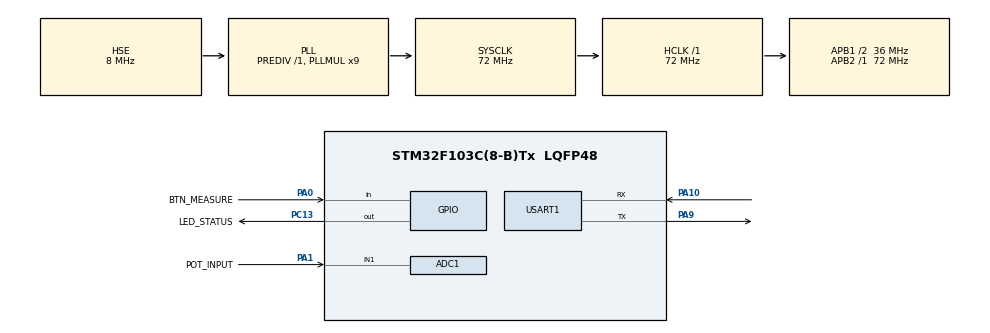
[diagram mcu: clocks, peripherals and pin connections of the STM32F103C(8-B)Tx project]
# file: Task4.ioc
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ADC1.Channel-0\#ChannelRegularConversion=ADC_CHANNEL_1
ADC1.NbrOfConversionFlag=1
ADC1.Rank-0\#ChannelRegularConversion=1
ADC1.SamplingTime-0\#ChannelRegularConversion=ADC_SAMPLETIME_1CYCLE_5
ADC1.master=1
Mcu.Family=STM32F1
Mcu.Name=STM32F103C(8-B)Tx
Mcu.Package=LQFP48
NVIC.PriorityGroup=NVIC_PRIORITYGROUP_4
PA0-WKUP.GPIO_Label=BTN_MEASURE
PA0-WKUP.GPIO_PuPd=GPIO_PULLDOWN
PA0-WKUP.Signal=GPIO_Input
PA1.GPIO_Label=POT_INPUT
PA1.Signal=ADCx_IN1
PA10.Mode=Asynchronous
PA10.Signal=USART1_RX
PA13.Mode=Serial_Wire
PA13.Signal=SYS_JTMS-SWDIO
PA14.Mode=Serial_Wire
PA14.Signal=SYS_JTCK-SWCLK
PA9.Mode=Asynchronous
PA9.Signal=USART1_TX
PC13-TAMPER-RTC.GPIO_Label=LED_STATUS
PC13-TAMPER-RTC.Signal=GPIO_Output
PD0-OSC_IN.Mode=HSE-External-Oscillator
PD0-OSC_IN.Signal=RCC_OSC_IN
PD1-OSC_OUT.Mode=HSE-External-Oscillator
PD1-OSC_OUT.Signal=RCC_OSC_OUT
ProjectManager.HeapSize=0x200
ProjectManager.StackSize=0x400
ProjectManager.TargetToolchain=Makefile
RCC.ADCPresc=RCC_ADCPCLK2_DIV6
RCC.AHBFreq_Value=72000000
RCC.APB1CLKDivider=RCC_HCLK_DIV2
RCC.APB1Freq_Value=36000000
RCC.APB1TimFreq_Value=72000000
RCC.APB2Freq_Value=72000000
RCC.APB2TimFreq_Value=72000000
RCC.HCLKFreq_Value=72000000
RCC.PLLMUL=RCC_PLL_MUL9
RCC.PLLSourceVirtual=RCC_PLLSOURCE_HSE
RCC.SYSCLKFreq_VALUE=72000000
RCC.SYSCLKSource=RCC_SYSCLKSOURCE_PLLCLK
RCC.USBFreq_Value=72000000
SH.ADCx_IN1.0=ADC1_IN1,IN1
USART1.VirtualMode=VM_ASYNC
board=custom

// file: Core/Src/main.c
/* USER CODE BEGIN Header */
/**
  ******************************************************************************
  * @file           : main.c
  * @brief          : Main program body
  ******************************************************************************
  * @attention
  *
  * Copyright (c) 2026 STMicroelectronics.
  * All rights reserved.
  *
  * This software is licensed under terms that can be found in the LICENSE file
  * in the root directory of this software component.
  * If no LICENSE file comes with this software, it is provided AS-IS.
  *
  ******************************************************************************
  */
/* USER CODE END Header */
#include "main.h"

/* USER CODE BEGIN Includes */
#include "sensor.h"
#include "uart_log.h"
#include <stdio.h>
/* USER CODE END Includes */

ADC_HandleTypeDef hadc1;

UART_HandleTypeDef huart1;

/* USER CODE BEGIN PV */
uint32_t measurement_count = 0;
SensorData_t current_sensor_data;
/* USER CODE END PV */

void SystemClock_Config(void);
static void MX_GPIO_Init(void);
static void MX_ADC1_Init(void);
static void MX_USART1_UART_Init(void);

int main(void)
{

  /* MCU Configuration--------------------------------------------------------*/

  /* Reset of all peripherals, Initializes the Flash interface and the Systick. */
  HAL_Init();

  /* Configure the system clock */
  SystemClock_Config();

  /* Initialize all configured peripherals */
  MX_GPIO_Init();
  MX_ADC1_Init();
  MX_USART1_UART_Init();
  /* USER CODE BEGIN 2 */

  // BOOT TESTI: Sistem acildiginda LED 3 kez yanip soner
  UART_Print(&huart1, "[SISTEM] TUFAN Sensor Dashboard baslatiliyor...\r\n");
  UART_Print(&huart1, "[SISTEM] LED yanip sonuyor (3x boot testi)...\r\n");

  for(int i = 0; i < 3; i++) {
      // STM32'de PC13 pini genelde Active-Low (ters) calisir. RESET = LED Yanar.
      HAL_GPIO_WritePin(LED_STATUS_GPIO_Port, LED_STATUS_Pin, GPIO_PIN_RESET);
      HAL_Delay(500);
      HAL_GPIO_WritePin(LED_STATUS_GPIO_Port, LED_STATUS_Pin, GPIO_PIN_SET);
      HAL_Delay(500);
  }

  UART_Print(&huart1, "[SISTEM] Hazir. Olcum icin butona basiniz.\r\n");
  /* USER CODE END 2 */

  /* Infinite loop */
  while (1)
  {

    /* USER CODE BEGIN 3 */

    // 1. BUTON OKUMA
    if (HAL_GPIO_ReadPin(BTN_MEASURE_GPIO_Port, BTN_MEASURE_Pin) == GPIO_PIN_SET) {

        // 2. DEBOUNCE BEKLEMESI (50 ms)
        HAL_Delay(50);

        // Buton hala basili mi?
        if (HAL_GPIO_ReadPin(BTN_MEASURE_GPIO_Port, BTN_MEASURE_Pin) == GPIO_PIN_SET) {

            // 3. OLCUM BASLAT
            HAL_GPIO_WritePin(LED_STATUS_GPIO_Port, LED_STATUS_Pin, GPIO_PIN_RESET); // LED'i Yak

            // Senin (Liderin) yazdigi kutuphaneyi cagiriyoruz
            current_sensor_data = Sensor_Read(&hadc1);

            // 4. UART ILE EKRANA BASTIRMA
            if (current_sensor_data.error_flag == 0) {
                measurement_count++;

                char header[64];
                sprintf(header, "======== TUFAN SENSOR OKUMASI #%lu ========\r\n", measurement_count);
                UART_Print(&huart1, header);

                char raw_msg[64];
                sprintf(raw_msg, "Ham ADC Degeri: %d\r\n", current_sensor_data.raw_value);
                UART_Print(&huart1, raw_msg);

                UART_PrintFloat(&huart1, "Gerilim", current_sensor_data.voltage, 2);
                UART_PrintFloat(&huart1, "Batarya Sim.", current_sensor_data.percentage, 1);
                UART_Print(&huart1, "LED Durumu ACIK (olcum)\r\n");

                // SINIR DURUM (Edge Case): Voltaj sinirlari disindaysa uyari ver
                if (current_sensor_data.voltage < 0.0f || current_sensor_data.voltage > 3.3f) {
                    UART_Print(&huart1, "[UYARI] ADC degeri aralik disi! (kontrol edin)\r\n");
                }
            } else {
                // Zaman asimi hatasi
                UART_Print(&huart1, "[HATA] ADC Zaman Asimi! Olcum atlandi.\r\n");
            }

            // 5. TEMIZLIK
            HAL_GPIO_WritePin(LED_STATUS_GPIO_Port, LED_STATUS_Pin, GPIO_PIN_SET); // LED'i Sondur

            // Butonun birakilmasini bekle (Tek tusa tek islem)
            while(HAL_GPIO_ReadPin(BTN_MEASURE_GPIO_Port, BTN_MEASURE_Pin) == GPIO_PIN_SET) {
                // Bekle
            }
        }
    }
  }
  /* USER CODE END 3 */
}

void SystemClock_Config(void)
{
  RCC_OscInitTypeDef RCC_OscInitStruct = {0};
  RCC_ClkInitTypeDef RCC_ClkInitStruct = {0};
  RCC_PeriphCLKInitTypeDef PeriphClkInit = {0};

  /** Initializes the RCC Oscillators according to the specified parameters
  * in the RCC_OscInitTypeDef structure.
  */
  RCC_OscInitStruct.OscillatorType = RCC_OSCILLATORTYPE_HSE;
  RCC_OscInitStruct.HSEState = RCC_HSE_ON;
  RCC_OscInitStruct.HSEPredivValue = RCC_HSE_PREDIV_DIV1;
  RCC_OscInitStruct.HSIState = RCC_HSI_ON;
  RCC_OscInitStruct.PLL.PLLState = RCC_PLL_ON;
  RCC_OscInitStruct.PLL.PLLSource = RCC_PLLSOURCE_HSE;
  RCC_OscInitStruct.PLL.PLLMUL = RCC_PLL_MUL9;
  if (HAL_RCC_OscConfig(&RCC_OscInitStruct) != HAL_OK)
  {
    Error_Handler();
  }

  /** Initializes the CPU, AHB and APB buses clocks
  */
  RCC_ClkInitStruct.ClockType = RCC_CLOCKTYPE_HCLK|RCC_CLOCKTYPE_SYSCLK
                              |RCC_CLOCKTYPE_PCLK1|RCC_CLOCKTYPE_PCLK2;
  RCC_ClkInitStruct.SYSCLKSource = RCC_SYSCLKSOURCE_PLLCLK;
  RCC_ClkInitStruct.AHBCLKDivider = RCC_SYSCLK_DIV1;
  RCC_ClkInitStruct.APB1CLKDivider = RCC_HCLK_DIV2;
  RCC_ClkInitStruct.APB2CLKDivider = RCC_HCLK_DIV1;

  if (HAL_RCC_ClockConfig(&RCC_ClkInitStruct, FLASH_LATENCY_2) != HAL_OK)
  {
    Error_Handler();
  }
  PeriphClkInit.PeriphClockSelection = RCC_PERIPHCLK_ADC;
  PeriphClkInit.AdcClockSelection = RCC_ADCPCLK2_DIV6;
  if (HAL_RCCEx_PeriphCLKConfig(&PeriphClkInit) != HAL_OK)
  {
    Error_Handler();
  }
}

static void MX_ADC1_Init(void)
{

  ADC_ChannelConfTypeDef sConfig = {0};

  /** Common config
  */
  hadc1.Instance = ADC1;
  hadc1.Init.ScanConvMode = ADC_SCAN_DISABLE;
  hadc1.Init.ContinuousConvMode = DISABLE;
  hadc1.Init.DiscontinuousConvMode = DISABLE;
  hadc1.Init.ExternalTrigConv = ADC_SOFTWARE_START;
  hadc1.Init.DataAlign = ADC_DATAALIGN_RIGHT;
  hadc1.Init.NbrOfConversion = 1;
  if (HAL_ADC_Init(&hadc1) != HAL_OK)
  {
    Error_Handler();
  }

  /** Configure Regular Channel
  */
  sConfig.Channel = ADC_CHANNEL_1;
  sConfig.Rank = ADC_REGULAR_RANK_1;
  sConfig.SamplingTime = ADC_SAMPLETIME_1CYCLE_5;
  if (HAL_ADC_ConfigChannel(&hadc1, &sConfig) != HAL_OK)
  {
    Error_Handler();
  }

}

static void MX_USART1_UART_Init(void)
{

  huart1.Instance = USART1;
  huart1.Init.BaudRate = 115200;
  huart1.Init.WordLength = UART_WORDLENGTH_8B;
  huart1.Init.StopBits = UART_STOPBITS_1;
  huart1.Init.Parity = UART_PARITY_NONE;
  huart1.Init.Mode = UART_MODE_TX_RX;
  huart1.Init.HwFlowCtl = UART_HWCONTROL_NONE;
  huart1.Init.OverSampling = UART_OVERSAMPLING_16;
  if (HAL_UART_Init(&huart1) != HAL_OK)
  {
    Error_Handler();
  }

}

static void MX_GPIO_Init(void)
{
  GPIO_InitTypeDef GPIO_InitStruct = {0};

  /* GPIO Ports Clock Enable */
  __HAL_RCC_GPIOC_CLK_ENABLE();
  __HAL_RCC_GPIOD_CLK_ENABLE();
  __HAL_RCC_GPIOA_CLK_ENABLE();

  /*Configure GPIO pin Output Level */
  HAL_GPIO_WritePin(LED_STATUS_GPIO_Port, LED_STATUS_Pin, GPIO_PIN_RESET);

  /*Configure GPIO pin : LED_STATUS_Pin */
  GPIO_InitStruct.Pin = LED_STATUS_Pin;
  GPIO_InitStruct.Mode = GPIO_MODE_OUTPUT_PP;
  GPIO_InitStruct.Pull = GPIO_NOPULL;
  GPIO_InitStruct.Speed = GPIO_SPEED_FREQ_LOW;
  HAL_GPIO_Init(LED_STATUS_GPIO_Port, &GPIO_InitStruct);

  /*Configure GPIO pin : BTN_MEASURE_Pin */
  GPIO_InitStruct.Pin = BTN_MEASURE_Pin;
  GPIO_InitStruct.Mode = GPIO_MODE_INPUT;
  GPIO_InitStruct.Pull = GPIO_PULLDOWN;
  HAL_GPIO_Init(BTN_MEASURE_GPIO_Port, &GPIO_InitStruct);

}

void Error_Handler(void)
{
  __disable_irq();
  while (1)
  {
  }
}
